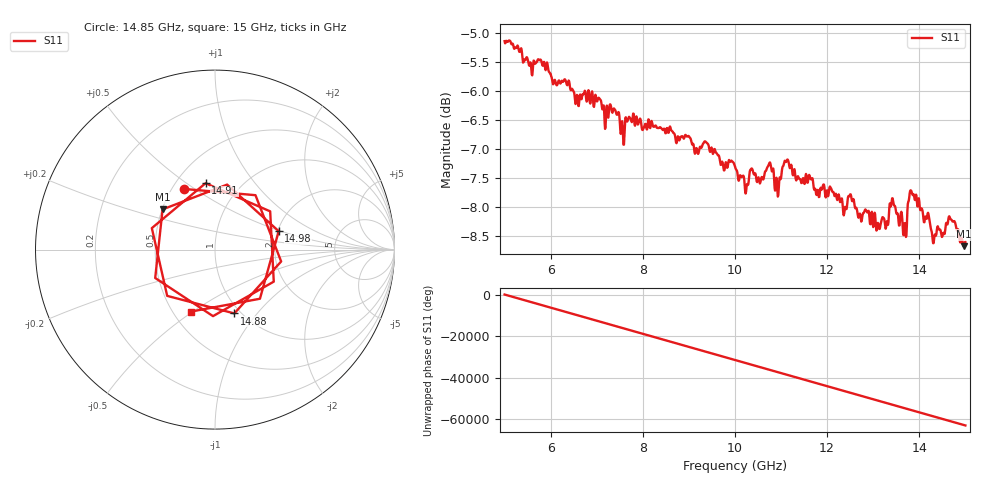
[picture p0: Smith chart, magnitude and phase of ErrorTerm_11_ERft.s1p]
!  1-Port S-parameters saved by WinCal
! VAR NAME=2-Port SOLT labuser 7
! VAR Error Term Name=ERft phys rcv port 1 phys src port 1
# Hz S RI R 50
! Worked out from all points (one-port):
!   1001 points, 5 GHz to 15 GHz, reference 50 ohm
!   lowest |S11| = -8.7 dB at 14.96 GHz (marker M1), VSWR 2.16, Z = 25.1 + j13 ohm
!   |S11| at or under -10 dB: nowhere
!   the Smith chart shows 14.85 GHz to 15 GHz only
!   S11 on the Smith chart (normalised r, x): 14.85 GHz: 0.57, +0.45; 14.88 GHz: 0.93, -0.77; 14.91 GHz: 0.69, +0.59; 14.98 GHz: 2.02, +0.48; 15 GHz: 0.61, -0.49
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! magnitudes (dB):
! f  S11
! 5 GHz  -5.1
! 6.25 GHz  -5.8
! 7.5 GHz  -6.5
! 8.75 GHz  -6.8
! 10 GHz  -7.3
! 10.25 GHz  -7.7
! 10.36 GHz  -7.3
! 10.52 GHz  -7.5
! 10.78 GHz  -7.3
! 10.91 GHz  -7.6
! 11.1 GHz  -7.2
! 11.25 GHz  -7.4
! 12.38 GHz  -8.1
! 12.5 GHz  -7.8
! 13.11 GHz  -8.3
! 13.29 GHz  -8.3
! 13.4 GHz  -7.9
! 13.68 GHz  -8.3
! 13.75 GHz  -8.0
! 13.84 GHz  -7.8
! 14.31 GHz  -8.6
! 14.68 GHz  -8.2
! 14.85 GHz  -8.4
! 14.88 GHz  -8.6
! 14.91 GHz  -8.6
! 14.96 GHz  -8.7
! 14.98 GHz  -8.6
! 15 GHz  -8.6
